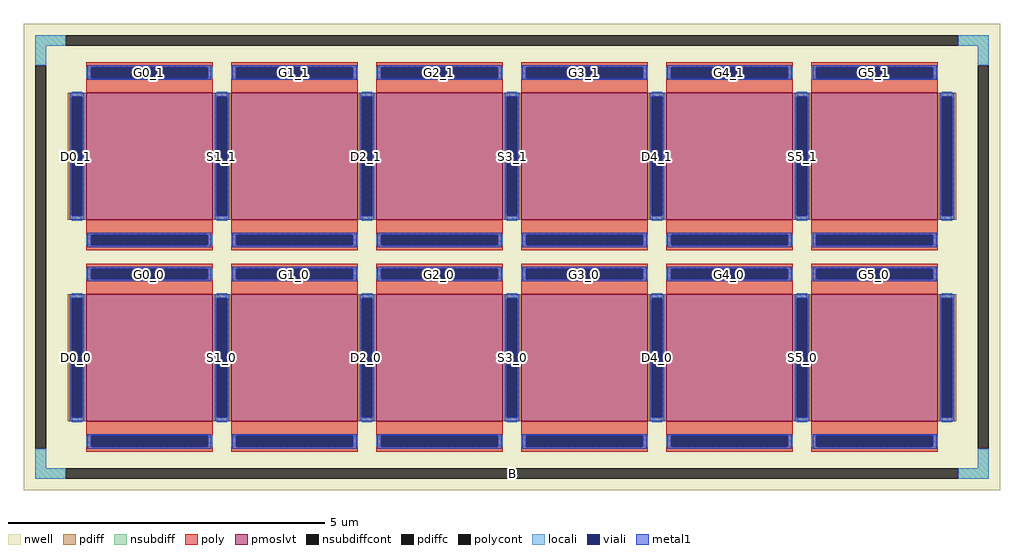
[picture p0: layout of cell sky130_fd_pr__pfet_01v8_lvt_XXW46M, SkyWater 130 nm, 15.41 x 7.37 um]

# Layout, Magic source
magic
tech sky130A
magscale 1 2
<< nwell >>
rect -1541 -737 1541 737
<< pmoslvt >>
rect -1345 118 -945 518
rect -887 118 -487 518
rect -429 118 -29 518
rect 29 118 429 518
rect 487 118 887 518
rect 945 118 1345 518
rect -1345 -518 -945 -118
rect -887 -518 -487 -118
rect -429 -518 -29 -118
rect 29 -518 429 -118
rect 487 -518 887 -118
rect 945 -518 1345 -118
<< pdiff >>
rect -1403 506 -1345 518
rect -1403 130 -1391 506
rect -1357 130 -1345 506
rect -1403 118 -1345 130
rect -945 506 -887 518
rect -945 130 -933 506
rect -899 130 -887 506
rect -945 118 -887 130
rect -487 506 -429 518
rect -487 130 -475 506
rect -441 130 -429 506
rect -487 118 -429 130
rect -29 506 29 518
rect -29 130 -17 506
rect 17 130 29 506
rect -29 118 29 130
rect 429 506 487 518
rect 429 130 441 506
rect 475 130 487 506
rect 429 118 487 130
rect 887 506 945 518
rect 887 130 899 506
rect 933 130 945 506
rect 887 118 945 130
rect 1345 506 1403 518
rect 1345 130 1357 506
rect 1391 130 1403 506
rect 1345 118 1403 130
rect -1403 -130 -1345 -118
rect -1403 -506 -1391 -130
rect -1357 -506 -1345 -130
rect -1403 -518 -1345 -506
rect -945 -130 -887 -118
rect -945 -506 -933 -130
rect -899 -506 -887 -130
rect -945 -518 -887 -506
rect -487 -130 -429 -118
rect -487 -506 -475 -130
rect -441 -506 -429 -130
rect -487 -518 -429 -506
rect -29 -130 29 -118
rect -29 -506 -17 -130
rect 17 -506 29 -130
rect -29 -518 29 -506
rect 429 -130 487 -118
rect 429 -506 441 -130
rect 475 -506 487 -130
rect 429 -518 487 -506
rect 887 -130 945 -118
rect 887 -506 899 -130
rect 933 -506 945 -130
rect 887 -518 945 -506
rect 1345 -130 1403 -118
rect 1345 -506 1357 -130
rect 1391 -506 1403 -130
rect 1345 -518 1403 -506
<< pdiffc >>
rect -1391 130 -1357 506
rect -933 130 -899 506
rect -475 130 -441 506
rect -17 130 17 506
rect 441 130 475 506
rect 899 130 933 506
rect 1357 130 1391 506
rect -1391 -506 -1357 -130
rect -933 -506 -899 -130
rect -475 -506 -441 -130
rect -17 -506 17 -130
rect 441 -506 475 -130
rect 899 -506 933 -130
rect 1357 -506 1391 -130
<< nsubdiff >>
rect -1505 667 -1409 701
rect 1409 667 1505 701
rect -1505 605 -1471 667
rect 1471 605 1505 667
rect -1505 -667 -1471 -605
rect 1471 -667 1505 -605
rect -1505 -701 -1409 -667
rect 1409 -701 1505 -667
<< nsubdiffcont >>
rect -1409 667 1409 701
rect -1505 -605 -1471 605
rect 1471 -605 1505 605
rect -1409 -701 1409 -667
<< poly >>
rect -1345 599 -945 615
rect -1345 565 -1329 599
rect -961 565 -945 599
rect -1345 518 -945 565
rect -887 599 -487 615
rect -887 565 -871 599
rect -503 565 -487 599
rect -887 518 -487 565
rect -429 599 -29 615
rect -429 565 -413 599
rect -45 565 -29 599
rect -429 518 -29 565
rect 29 599 429 615
rect 29 565 45 599
rect 413 565 429 599
rect 29 518 429 565
rect 487 599 887 615
rect 487 565 503 599
rect 871 565 887 599
rect 487 518 887 565
rect 945 599 1345 615
rect 945 565 961 599
rect 1329 565 1345 599
rect 945 518 1345 565
rect -1345 71 -945 118
rect -1345 37 -1329 71
rect -961 37 -945 71
rect -1345 21 -945 37
rect -887 71 -487 118
rect -887 37 -871 71
rect -503 37 -487 71
rect -887 21 -487 37
rect -429 71 -29 118
rect -429 37 -413 71
rect -45 37 -29 71
rect -429 21 -29 37
rect 29 71 429 118
rect 29 37 45 71
rect 413 37 429 71
rect 29 21 429 37
rect 487 71 887 118
rect 487 37 503 71
rect 871 37 887 71
rect 487 21 887 37
rect 945 71 1345 118
rect 945 37 961 71
rect 1329 37 1345 71
rect 945 21 1345 37
rect -1345 -37 -945 -21
rect -1345 -71 -1329 -37
rect -961 -71 -945 -37
rect -1345 -118 -945 -71
rect -887 -37 -487 -21
rect -887 -71 -871 -37
rect -503 -71 -487 -37
rect -887 -118 -487 -71
rect -429 -37 -29 -21
rect -429 -71 -413 -37
rect -45 -71 -29 -37
rect -429 -118 -29 -71
rect 29 -37 429 -21
rect 29 -71 45 -37
rect 413 -71 429 -37
rect 29 -118 429 -71
rect 487 -37 887 -21
rect 487 -71 503 -37
rect 871 -71 887 -37
rect 487 -118 887 -71
rect 945 -37 1345 -21
rect 945 -71 961 -37
rect 1329 -71 1345 -37
rect 945 -118 1345 -71
rect -1345 -565 -945 -518
rect -1345 -599 -1329 -565
rect -961 -599 -945 -565
rect -1345 -615 -945 -599
rect -887 -565 -487 -518
rect -887 -599 -871 -565
rect -503 -599 -487 -565
rect -887 -615 -487 -599
rect -429 -565 -29 -518
rect -429 -599 -413 -565
rect -45 -599 -29 -565
rect -429 -615 -29 -599
rect 29 -565 429 -518
rect 29 -599 45 -565
rect 413 -599 429 -565
rect 29 -615 429 -599
rect 487 -565 887 -518
rect 487 -599 503 -565
rect 871 -599 887 -565
rect 487 -615 887 -599
rect 945 -565 1345 -518
rect 945 -599 961 -565
rect 1329 -599 1345 -565
rect 945 -615 1345 -599
<< polycont >>
rect -1329 565 -961 599
rect -871 565 -503 599
rect -413 565 -45 599
rect 45 565 413 599
rect 503 565 871 599
rect 961 565 1329 599
rect -1329 37 -961 71
rect -871 37 -503 71
rect -413 37 -45 71
rect 45 37 413 71
rect 503 37 871 71
rect 961 37 1329 71
rect -1329 -71 -961 -37
rect -871 -71 -503 -37
rect -413 -71 -45 -37
rect 45 -71 413 -37
rect 503 -71 871 -37
rect 961 -71 1329 -37
rect -1329 -599 -961 -565
rect -871 -599 -503 -565
rect -413 -599 -45 -565
rect 45 -599 413 -565
rect 503 -599 871 -565
rect 961 -599 1329 -565
<< locali >>
rect -1505 667 -1409 701
rect 1409 667 1505 701
rect -1505 605 -1471 667
rect 1471 605 1505 667
rect -1345 565 -1329 599
rect -961 565 -945 599
rect -887 565 -871 599
rect -503 565 -487 599
rect -429 565 -413 599
rect -45 565 -29 599
rect 29 565 45 599
rect 413 565 429 599
rect 487 565 503 599
rect 871 565 887 599
rect 945 565 961 599
rect 1329 565 1345 599
rect -1391 506 -1357 522
rect -1391 114 -1357 130
rect -933 506 -899 522
rect -933 114 -899 130
rect -475 506 -441 522
rect -475 114 -441 130
rect -17 506 17 522
rect -17 114 17 130
rect 441 506 475 522
rect 441 114 475 130
rect 899 506 933 522
rect 899 114 933 130
rect 1357 506 1391 522
rect 1357 114 1391 130
rect -1345 37 -1329 71
rect -961 37 -945 71
rect -887 37 -871 71
rect -503 37 -487 71
rect -429 37 -413 71
rect -45 37 -29 71
rect 29 37 45 71
rect 413 37 429 71
rect 487 37 503 71
rect 871 37 887 71
rect 945 37 961 71
rect 1329 37 1345 71
rect -1345 -71 -1329 -37
rect -961 -71 -945 -37
rect -887 -71 -871 -37
rect -503 -71 -487 -37
rect -429 -71 -413 -37
rect -45 -71 -29 -37
rect 29 -71 45 -37
rect 413 -71 429 -37
rect 487 -71 503 -37
rect 871 -71 887 -37
rect 945 -71 961 -37
rect 1329 -71 1345 -37
rect -1391 -130 -1357 -114
rect -1391 -522 -1357 -506
rect -933 -130 -899 -114
rect -933 -522 -899 -506
rect -475 -130 -441 -114
rect -475 -522 -441 -506
rect -17 -130 17 -114
rect -17 -522 17 -506
rect 441 -130 475 -114
rect 441 -522 475 -506
rect 899 -130 933 -114
rect 899 -522 933 -506
rect 1357 -130 1391 -114
rect 1357 -522 1391 -506
rect -1345 -599 -1329 -565
rect -961 -599 -945 -565
rect -887 -599 -871 -565
rect -503 -599 -487 -565
rect -429 -599 -413 -565
rect -45 -599 -29 -565
rect 29 -599 45 -565
rect 413 -599 429 -565
rect 487 -599 503 -565
rect 871 -599 887 -565
rect 945 -599 961 -565
rect 1329 -599 1345 -565
rect -1505 -667 -1471 -605
rect 1471 -667 1505 -605
rect -1505 -701 -1409 -667
rect 1409 -701 1505 -667
<< viali >>
rect -1329 565 -961 599
rect -871 565 -503 599
rect -413 565 -45 599
rect 45 565 413 599
rect 503 565 871 599
rect 961 565 1329 599
rect -1391 130 -1357 506
rect -933 130 -899 506
rect -475 130 -441 506
rect -17 130 17 506
rect 441 130 475 506
rect 899 130 933 506
rect 1357 130 1391 506
rect -1329 37 -961 71
rect -871 37 -503 71
rect -413 37 -45 71
rect 45 37 413 71
rect 503 37 871 71
rect 961 37 1329 71
rect -1329 -71 -961 -37
rect -871 -71 -503 -37
rect -413 -71 -45 -37
rect 45 -71 413 -37
rect 503 -71 871 -37
rect 961 -71 1329 -37
rect -1391 -506 -1357 -130
rect -933 -506 -899 -130
rect -475 -506 -441 -130
rect -17 -506 17 -130
rect 441 -506 475 -130
rect 899 -506 933 -130
rect 1357 -506 1391 -130
rect -1329 -599 -961 -565
rect -871 -599 -503 -565
rect -413 -599 -45 -565
rect 45 -599 413 -565
rect 503 -599 871 -565
rect 961 -599 1329 -565
<< metal1 >>
rect -1341 599 -949 605
rect -1341 565 -1329 599
rect -961 565 -949 599
rect -1341 559 -949 565
rect -883 599 -491 605
rect -883 565 -871 599
rect -503 565 -491 599
rect -883 559 -491 565
rect -425 599 -33 605
rect -425 565 -413 599
rect -45 565 -33 599
rect -425 559 -33 565
rect 33 599 425 605
rect 33 565 45 599
rect 413 565 425 599
rect 33 559 425 565
rect 491 599 883 605
rect 491 565 503 599
rect 871 565 883 599
rect 491 559 883 565
rect 949 599 1341 605
rect 949 565 961 599
rect 1329 565 1341 599
rect 949 559 1341 565
rect -1397 506 -1351 518
rect -1397 130 -1391 506
rect -1357 130 -1351 506
rect -1397 118 -1351 130
rect -939 506 -893 518
rect -939 130 -933 506
rect -899 130 -893 506
rect -939 118 -893 130
rect -481 506 -435 518
rect -481 130 -475 506
rect -441 130 -435 506
rect -481 118 -435 130
rect -23 506 23 518
rect -23 130 -17 506
rect 17 130 23 506
rect -23 118 23 130
rect 435 506 481 518
rect 435 130 441 506
rect 475 130 481 506
rect 435 118 481 130
rect 893 506 939 518
rect 893 130 899 506
rect 933 130 939 506
rect 893 118 939 130
rect 1351 506 1397 518
rect 1351 130 1357 506
rect 1391 130 1397 506
rect 1351 118 1397 130
rect -1341 71 -949 77
rect -1341 37 -1329 71
rect -961 37 -949 71
rect -1341 31 -949 37
rect -883 71 -491 77
rect -883 37 -871 71
rect -503 37 -491 71
rect -883 31 -491 37
rect -425 71 -33 77
rect -425 37 -413 71
rect -45 37 -33 71
rect -425 31 -33 37
rect 33 71 425 77
rect 33 37 45 71
rect 413 37 425 71
rect 33 31 425 37
rect 491 71 883 77
rect 491 37 503 71
rect 871 37 883 71
rect 491 31 883 37
rect 949 71 1341 77
rect 949 37 961 71
rect 1329 37 1341 71
rect 949 31 1341 37
rect -1341 -37 -949 -31
rect -1341 -71 -1329 -37
rect -961 -71 -949 -37
rect -1341 -77 -949 -71
rect -883 -37 -491 -31
rect -883 -71 -871 -37
rect -503 -71 -491 -37
rect -883 -77 -491 -71
rect -425 -37 -33 -31
rect -425 -71 -413 -37
rect -45 -71 -33 -37
rect -425 -77 -33 -71
rect 33 -37 425 -31
rect 33 -71 45 -37
rect 413 -71 425 -37
rect 33 -77 425 -71
rect 491 -37 883 -31
rect 491 -71 503 -37
rect 871 -71 883 -37
rect 491 -77 883 -71
rect 949 -37 1341 -31
rect 949 -71 961 -37
rect 1329 -71 1341 -37
rect 949 -77 1341 -71
rect -1397 -130 -1351 -118
rect -1397 -506 -1391 -130
rect -1357 -506 -1351 -130
rect -1397 -518 -1351 -506
rect -939 -130 -893 -118
rect -939 -506 -933 -130
rect -899 -506 -893 -130
rect -939 -518 -893 -506
rect -481 -130 -435 -118
rect -481 -506 -475 -130
rect -441 -506 -435 -130
rect -481 -518 -435 -506
rect -23 -130 23 -118
rect -23 -506 -17 -130
rect 17 -506 23 -130
rect -23 -518 23 -506
rect 435 -130 481 -118
rect 435 -506 441 -130
rect 475 -506 481 -130
rect 435 -518 481 -506
rect 893 -130 939 -118
rect 893 -506 899 -130
rect 933 -506 939 -130
rect 893 -518 939 -506
rect 1351 -130 1397 -118
rect 1351 -506 1357 -130
rect 1391 -506 1397 -130
rect 1351 -518 1397 -506
rect -1341 -565 -949 -559
rect -1341 -599 -1329 -565
rect -961 -599 -949 -565
rect -1341 -605 -949 -599
rect -883 -565 -491 -559
rect -883 -599 -871 -565
rect -503 -599 -491 -565
rect -883 -605 -491 -599
rect -425 -565 -33 -559
rect -425 -599 -413 -565
rect -45 -599 -33 -565
rect -425 -605 -33 -599
rect 33 -565 425 -559
rect 33 -599 45 -565
rect 413 -599 425 -565
rect 33 -605 425 -599
rect 491 -565 883 -559
rect 491 -599 503 -565
rect 871 -599 883 -565
rect 491 -605 883 -599
rect 949 -565 1341 -559
rect 949 -599 961 -565
rect 1329 -599 1341 -565
rect 949 -605 1341 -599
<< labels >>
rlabel nsubdiffcont 0 -684 0 -684 0 B
port 1 nsew
rlabel pdiffc -1374 -318 -1374 -318 0 D0_0
port 2 nsew
rlabel polycont -1145 -54 -1145 -54 0 G0_0
port 3 nsew
rlabel pdiffc -1374 318 -1374 318 0 D0_1
port 4 nsew
rlabel polycont -1145 582 -1145 582 0 G0_1
port 5 nsew
rlabel pdiffc -916 -318 -916 -318 0 S1_0
port 6 nsew
rlabel polycont -687 -54 -687 -54 0 G1_0
port 7 nsew
rlabel pdiffc -916 318 -916 318 0 S1_1
port 8 nsew
rlabel polycont -687 582 -687 582 0 G1_1
port 9 nsew
rlabel pdiffc -458 -318 -458 -318 0 D2_0
port 10 nsew
rlabel polycont -229 -54 -229 -54 0 G2_0
port 11 nsew
rlabel pdiffc -458 318 -458 318 0 D2_1
port 12 nsew
rlabel polycont -229 582 -229 582 0 G2_1
port 13 nsew
rlabel pdiffc 0 -318 0 -318 0 S3_0
port 14 nsew
rlabel polycont 229 -54 229 -54 0 G3_0
port 15 nsew
rlabel pdiffc 0 318 0 318 0 S3_1
port 16 nsew
rlabel polycont 229 582 229 582 0 G3_1
port 17 nsew
rlabel pdiffc 458 -318 458 -318 0 D4_0
port 18 nsew
rlabel polycont 687 -54 687 -54 0 G4_0
port 19 nsew
rlabel pdiffc 458 318 458 318 0 D4_1
port 20 nsew
rlabel polycont 687 582 687 582 0 G4_1
port 21 nsew
rlabel pdiffc 916 -318 916 -318 0 S5_0
port 22 nsew
rlabel polycont 1145 -54 1145 -54 0 G5_0
port 23 nsew
rlabel pdiffc 916 318 916 318 0 S5_1
port 24 nsew
rlabel polycont 1145 582 1145 582 0 G5_1
port 25 nsew
<< properties >>
string FIXED_BBOX -1488 -684 1488 684
string gencell sky130_fd_pr__pfet_01v8_lvt
string library sky130
string parameters w 2 l 2 m 2 nf 6 diffcov 100 polycov 100 guard 1 glc 1 grc 1 gtc 1 gbc 1 tbcov 100 rlcov 100 topc 1 botc 1 poverlap 0 doverlap 1 lmin 0.35 wmin 0.42 class mosfet compatible {sky130_fd_pr__pfet_01v8  sky130_fd_pr__pfet_01v8_lvt sky130_fd_pr__pfet_01v8_hvt  sky130_fd_pr__pfet_g5v0d10v5} full_metal 1 conn_gates 0 viasrc 100 viadrn 100 viagate 100 viagb 0 viagr 0 viagl 0 viagt 0 doports 1
<< end >>
